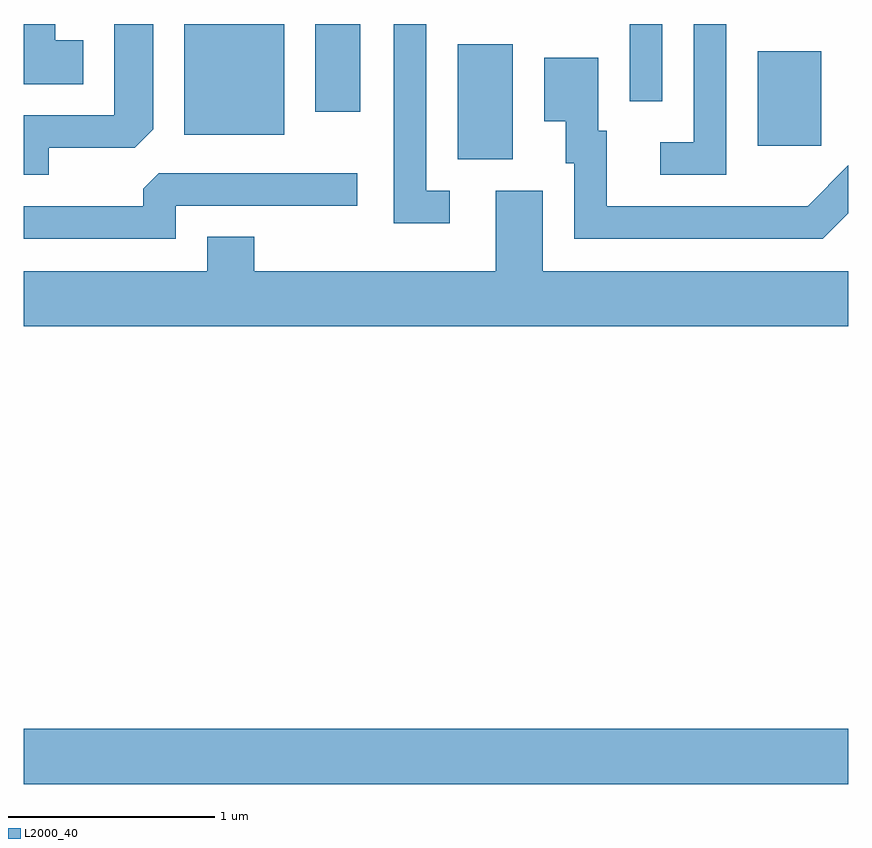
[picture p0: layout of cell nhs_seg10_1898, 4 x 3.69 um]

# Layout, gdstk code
import gdstk
lib = gdstk.Library(unit=1e-6, precision=1e-09)
def R(c, l, rs):  # rectangles x0, y0, x1, y1
    for r in rs: c.add(gdstk.rectangle(r[:2], r[2:], *l))
def P(c, l, *ps):  # polygons
    for p in ps: c.add(gdstk.Polygon(p, *l))
L2000_40 = (2000, 40)

nhs_seg10_1898 = lib.new_cell('nhs_seg10_1898')
R(nhs_seg10_1898, L2000_40, [(241.611,2082.836,245.611,2083.104), (243.716,2085.866,243.984,2086.424), (245.171,2085.931,245.479,2086.389), (242.391,2085.986,242.874,2086.522), (243.026,2086.096,243.244,2086.522), (244.551,2086.148,244.709,2086.522)])
P(nhs_seg10_1898, L2000_40, [(245.019,2086.522),(244.861,2086.522),(244.861,2085.949),(244.698,2085.949),(244.698,2085.791),(245.019,2085.791)],
  [(241.899,2086.444),(241.764,2086.444),(241.764,2086.522),(241.611,2086.522),(241.611,2086.231),(241.899,2086.231)],
  [(243.678,2085.714),(243.564,2085.714),(243.564,2086.522),(243.406,2086.522),(243.406,2085.556),(243.678,2085.556)],
  [(241.734,2085.921),(242.149,2085.921),(242.239,2086.012),(242.239,2086.522),(242.051,2086.522),(242.051,2086.079),(241.611,2086.079),(241.611,2085.791),(241.734,2085.791)],
  [(245.611,2085.605),(245.611,2085.836),(245.414,2085.639),(244.439,2085.639),(244.439,2086.004),(244.399,2086.004),(244.399,2086.359),(244.136,2086.359),(244.136,2086.051),(244.241,2086.051),(244.241,2085.846),(244.281,2085.846),(244.281,2085.481),(245.487,2085.481)],
  [(242.349,2085.641),(243.228,2085.641),(243.228,2085.799),(242.267,2085.799),(242.191,2085.724),(242.191,2085.639),(241.611,2085.639),(241.611,2085.481),(242.349,2085.481)],
  [(245.611,2085.324),(244.129,2085.324),(244.129,2085.714),(243.901,2085.714),(243.901,2085.324),(242.729,2085.324),(242.729,2085.489),(242.501,2085.489),(242.501,2085.324),(241.611,2085.324),(241.611,2085.056),(245.611,2085.056)])

lib.write_gds('nhs_seg10_1898.gds')
